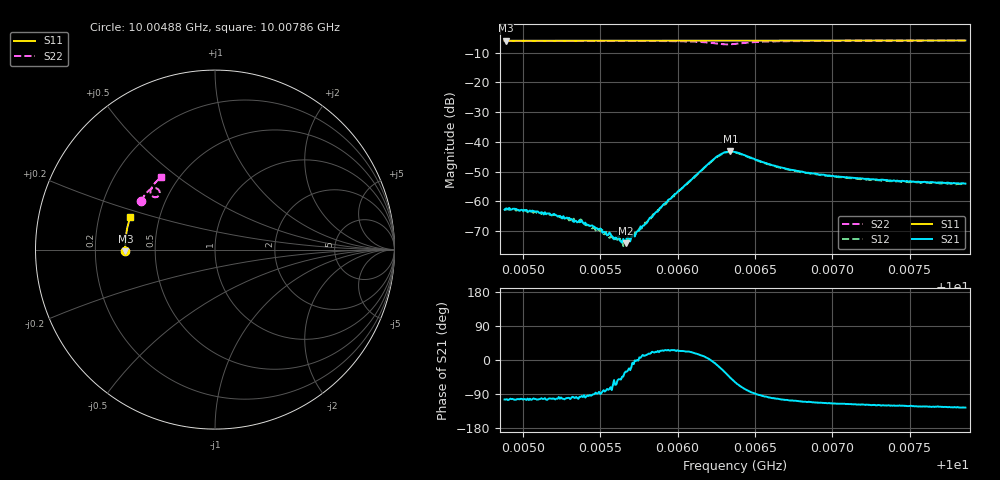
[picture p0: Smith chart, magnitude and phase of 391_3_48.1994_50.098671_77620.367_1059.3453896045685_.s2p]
#  HZ  S  RI  R  50.00
! Rohde & Schwarz Vector Network Analyzer
! Rohde-Schwarz,ZNB20-2Port,1311601062101988,3.16
! Created: UTC 3/20/2024, 11:53:38 AM
! freq[Hz]  re:S11  im:S11  re:S21  im:S21  re:S12  im:S12  re:S22  im:S22
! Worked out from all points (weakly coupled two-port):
!   401 points, 10.00488 GHz to 10.00786 GHz, reference 50 ohm
!   highest |S21| = -43.19 dB at 10.00634 GHz (marker M1); lowest = -74.0 dB at 10.00566 GHz (marker M2)
!   lowest |S11| = -6.0 dB at 10.00489 GHz (marker M3), VSWR 2.99, Z = 16.7 - j0.424 ohm
!   |S11| at or under -10 dB: nowhere
!   |S22| runs from -7.2 to -6.0 dB; largest |S21 - S12| = 0.0004
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1.0004882e10  -0.4993 -0.0098  -0.000177 -0.000705  -0.000141 -0.000739  -0.4136 0.2706
1.000489e10  -0.4992 -0.00953  -0.000187 -0.000735  -0.000134 -0.000709  -0.4131 0.2708
1.0005076e10  -0.4997 0.00276  -0.000149 -0.000669  -9.59e-05 -0.000662  -0.4065 0.282
1.000521e10  -0.4999 0.0114  -0.000143 -0.000574  -0.000101 -0.00059  -0.4015 0.2899
1.0005344e10  -0.4999 0.0201  -6.22e-05 -0.000469  -5.58e-05 -0.000473  -0.3959 0.2978
1.0005381e10  -0.4998 0.0225  -4.24e-05 -0.000474  -3.71e-05 -0.00048  -0.3943 0.3001
1.0005418e10  -0.4998 0.025  -3.01e-05 -0.000407  -2.08e-05 -0.0004  -0.3928 0.3023
1.0005493e10  -0.4997 0.0298  3.56e-05 -0.000341  3.33e-05 -0.000341  -0.3893 0.3069
1.000559e10  -0.4995 0.036  0.000139 -0.000185  9.28e-05 -0.000214  -0.3846 0.3129
1.0005627e10  -0.4993 0.0384  0.00014 -0.000171  0.000166 -0.000174  -0.3826 0.3151
1.0005649e10  -0.4992 0.04  0.000168 -0.000163  0.000133 -0.000118  -0.3815 0.3165
1.0005664e10  -0.4992 0.0409  0.000172 -0.000102  0.000169 -9.3e-05  -0.3807 0.3175
1.0005709e10  -0.499 0.0437  0.000253 -3.2e-05  0.00027 -3.88e-05  -0.3781 0.3201
1.000588e10  -0.4983 0.0548  0.000694 0.000261  0.00065 0.000296  -0.3667 0.3313
1.0006238e10  -0.4954 0.0779  0.00515 -0.000629  0.00509 -0.00036  -0.3116 0.33
1.000629e10  -0.495 0.081  0.00578 -0.00278  0.00579 -0.00246  -0.3086 0.3107
1.0006342e10  -0.4946 0.0841  0.00471 -0.00508  0.00486 -0.00471  -0.3215 0.2943
1.0006372e10  -0.4944 0.0858  0.00354 -0.00574  0.00378 -0.00545  -0.3328 0.2915
1.0006625e10  -0.4923 0.1021  -0.000767 -0.00392  -0.000569 -0.00388  -0.3587 0.3308
1.0006871e10  -0.4894 0.1178  -0.00109 -0.00275  -0.000939 -0.00275  -0.348 0.3535
1.000737e10  -0.4819 0.149  -0.00113 -0.00195  -0.000983 -0.00196  -0.3232 0.383
1.0007861e10  -0.4724 0.1792  -0.00116 -0.00162  -0.00104 -0.00166  -0.2982 0.4057
